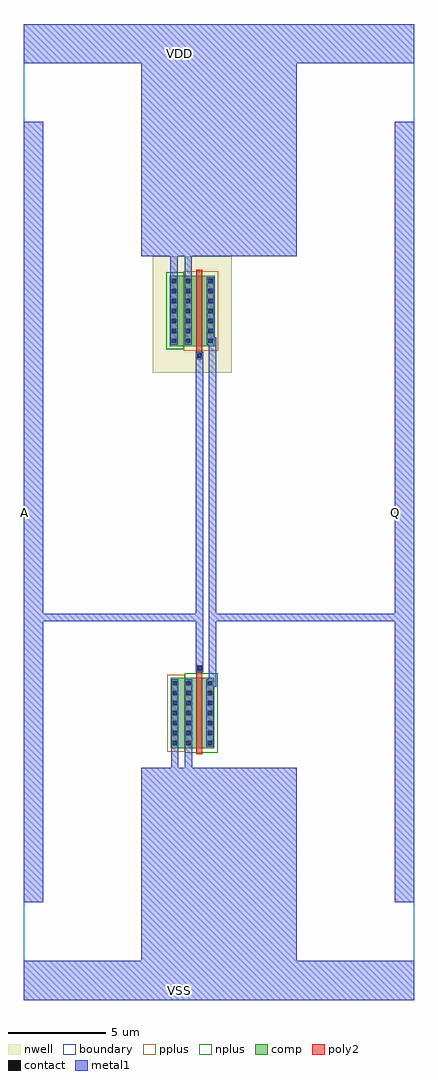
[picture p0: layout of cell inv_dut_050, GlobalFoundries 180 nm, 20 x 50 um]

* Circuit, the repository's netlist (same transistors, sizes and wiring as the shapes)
* inv_dut_050: pfet_03v3 W=3.60u L=0.30u / nfet_03v3 W=3.60u L=0.30u
.SUBCKT inv_dut_050 A Q VDD VSS
MMP Q A VDD VDD pfet_03v3 W=3.60u L=0.30u
MMN Q A VSS VSS nfet_03v3 W=3.60u L=0.30u
.ENDS

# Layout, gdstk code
import gdstk
lib = gdstk.Library(unit=1e-6, precision=1e-09)
def R(c, l, rs):  # rectangles x0, y0, x1, y1
    for r in rs: c.add(gdstk.rectangle(r[:2], r[2:], *l))
def A(c, l, x, y, w, h, nx, ny, dx, dy):  # array of equal rectangles
    R(c, l, [(x+i*dx, y+j*dy, x+i*dx+w, y+j*dy+h) for i in range(nx) for j in range(ny)])
def P(c, l, *ps):  # polygons
    for p in ps: c.add(gdstk.Polygon(p, *l))
boundary = (0, 0)
nwell = (21, 0)
comp = (22, 0)
poly2 = (30, 0)
pplus = (31, 0)
nplus = (32, 0)
contact = (33, 0)
metal1 = (34, 0)

inv_dut_050 = lib.new_cell('inv_dut_050')
R(inv_dut_050, boundary, [(-10,-25,10,25)])
R(inv_dut_050, nwell, [(-3.395,7.13,0.655,13.09)])
R(inv_dut_050, comp, [(-2.475,-12.1,-0.245,-8.5), (-2.535,8.5,-0.205,12.1)])
P(inv_dut_050, poly2, [(-1.155,-12.4),(-1.155,-8.2),(-1.185,-8.2),(-1.185,-7.84),(-0.825,-7.84),(-0.825,-8.2),(-0.855,-8.2),(-0.855,-12.4)],
  [(-1.195,7.82),(-1.195,8.2),(-1.155,8.2),(-1.155,12.4),(-0.855,12.4),(-0.855,8.2),(-0.815,8.2),(-0.815,7.82)])
R(inv_dut_050, pplus, [(-2.645,-12.27,-1.765,-8.33), (-1.805,8.26,-0.035,12.34)])
R(inv_dut_050, nplus, [(-1.765,-12.34,-0.075,-8.26), (-2.705,8.33,-1.805,12.27)])
A(inv_dut_050, contact, -2.375, -11.94, 0.22, 0.22, 1, 7, 0, 0.51)
A(inv_dut_050, contact, -1.665, -11.94, 0.22, 0.22, 1, 7, 0, 0.51)
A(inv_dut_050, contact, -0.565, -11.94, 0.22, 0.22, 1, 7, 0, 0.51)
A(inv_dut_050, contact, -2.415, 8.66, 0.22, 0.22, 1, 7, 0, 0.51)
A(inv_dut_050, contact, -1.685, 8.66, 0.22, 0.22, 1, 7, 0, 0.51)
A(inv_dut_050, contact, -0.545, 8.66, 0.22, 0.22, 1, 7, 0, 0.51)
R(inv_dut_050, contact, [(-1.115,-8.13,-0.895,-7.91), (-1.115,7.9,-0.895,8.12)])
R(inv_dut_050, metal1, [(-10,-25,10,-23), (-3.995,-23,3.995,-13.4), (-10,-20,-9,20), (9,-20,10,20), (-3.995,-13.7,3.995,-13.1), (-2.455,-13.7,-2.075,-8.58), (-1.745,-13.7,-1.365,-8.58), (-2.455,-12.02,-2.075,-8.58), (-1.745,-12.02,-1.365,-8.58), (-0.645,-12.02,-0.265,-8.58), (-0.645,-8.96,-0.135,-8.58), (-0.515,-8.96,-0.135,8.96), (-1.195,-8.21,-0.815,8.2), (-1.195,-8.21,-0.815,-7.83), (-9,-5.6,-3.695,-5.2), (-3.995,-5.6,-0.815,-5.2), (-0.515,-5.6,3.995,-5.2), (3.695,-5.6,9,-5.2), (-1.195,7.82,-0.815,8.2), (-2.495,8.58,-2.115,13.7), (-2.495,8.58,-2.115,12.02), (-1.765,8.58,-1.385,13.7), (-1.765,8.58,-1.385,12.02), (-0.625,8.58,-0.135,8.96), (-0.625,8.58,-0.245,12.02), (-3.995,13.1,3.995,13.7), (-3.995,13.4,3.995,23), (-10,23,10,25)])
inv_dut_050.add(gdstk.Label('VDD', (-2,23.5), layer=34, texttype=10))
inv_dut_050.add(gdstk.Label('VSS', (-2,-24.5), layer=34, texttype=10))
inv_dut_050.add(gdstk.Label('A', (-9.97,0), layer=34, texttype=10))
inv_dut_050.add(gdstk.Label('Q', (9.03,0), layer=34, texttype=10))

lib.write_gds('inv_dut_050.gds')
